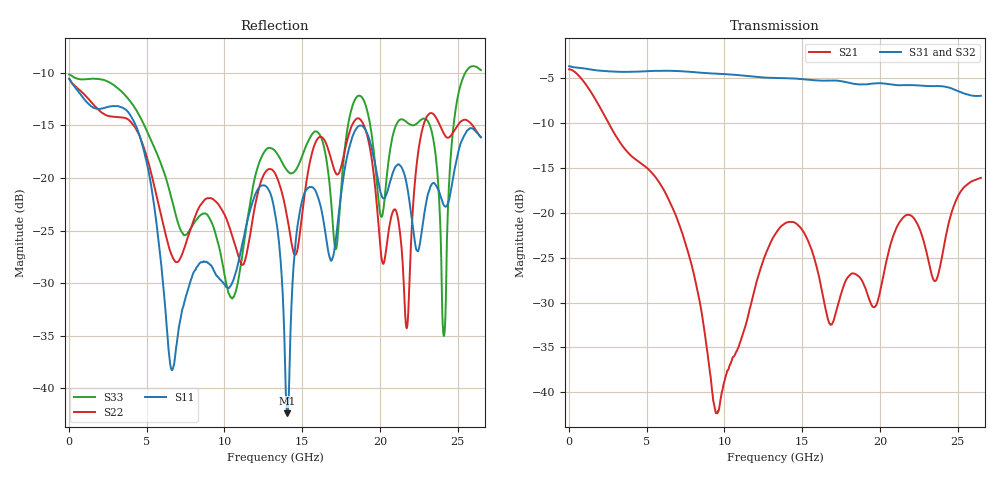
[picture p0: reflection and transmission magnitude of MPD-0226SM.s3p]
! MARKI MICROWAVE INC.
! Email:  info@markimicrowave.com  Phone:  408-778-4200
! Model Number:  MPD-0226SM  Date:  05/20
! Filename:		MPD-0226SM.S3P  Version: 1.0
! Description:  3-port S-parameter data for Power Divider MPD-0226SM
! Frequency Range: 	2 GHz to 26.5 GHz
! Port Configuration:	PORT 1:Output , PORT 2: Output, Port 3: COMMON
! S3P File: Measurements: Mag<S11> Ang<S11> Mag<S12> Ang<S12> Mag<S13> Ang<S13>! row 1
!  Mag<S21> Ang<S21> Mag<S22> Ang<S22> Mag<S23> Ang<S23>! row 2
!  Mag<S31> Ang<S31> Mag<S32> Ang<S32> Mag<S33> Ang<S33>! row 3
# Hz S  dB  R 50
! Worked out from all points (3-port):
!   801 points, 10 MHz to 26.5 GHz, reference 50 ohm
!   strongest paths, dB at 10 MHz, 6.633 GHz, 13.26 GHz, 19.88 GHz, 26.5 GHz:
!     S31: -3.6, -4.1, -4.9, -5.5, -6.9
!     S32: -3.6, -4.2, -5.0, -5.5, -6.9
!     S21: -4.0, -19.3, -22.4, -29.7, -16.1
!   lowest |S11| = -42.4 dB at 14.05 GHz (marker M1), VSWR 1.02, Z = 50.8 + j0.0161 ohm
!   |S11| at or under -10 dB: start of sweep to end of sweep
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1e7  -10.58 171.4  -4.04 -5.9  -3.63 -5.1
     -3.98 -6.4  -10.55 171.7  -3.61 -5.0
     -3.63 -5.4  -3.61 -5.2  -10.16 174.1
1.665625e9  -13.37 -69.8  -7.22 158.7  -4.06 -176.6
            -7.22 158.7  -13.17 -65.1  -4.11 -176.2
            -4.07 -176.6  -4.12 -176.2  -10.56 -1.6
3.387475e9  -13.29 95.8  -12.38 -19.1  -4.25 4.0
            -12.39 -19.1  -14.23 90.8  -4.18 3.9
            -4.26 4.0  -4.19 3.8  -11.78 159.4
5.109325e9  -19.27 -73.1  -15.12 170.0  -4.18 -176.0
            -15.12 170.0  -18.52 -87.8  -4.16 -176.6
            -4.18 -176.0  -4.16 -176.7  -15.84 -22.8
9.513288e9  -29.30 8.5  -41.96 -40.6  -4.47 79.6
            -42.32 -41.0  -22.34 0.4  -4.50 79.1
            -4.47 79.7  -4.49 79.1  -25.76 -6.7
1.110269e10  -26.62 -156.8  -34.03 119.9  -4.65 -87.7
             -33.96 119.7  -28.21 -134.0  -4.67 -88.3
             -4.66 -87.7  -4.67 -88.3  -27.84 168.3
1.3255e10  -23.35 -8.0  -22.38 -99.4  -4.95 46.5
           -22.40 -99.2  -19.54 -25.9  -4.97 45.4
           -4.95 46.5  -4.97 45.4  -17.41 -30.0
1.40497e10  -42.38 1.2  -21.06 161.5  -4.98 -37.1
            -21.04 161.5  -23.81 -93.3  -5.02 -38.3
            -4.98 -37.2  -5.02 -38.3  -19.31 -73.6
2.41159e10  -22.59 -45.4  -23.76 70.2  -5.90 -24.0
            -23.80 70.5  -15.77 -38.1  -6.01 -24.9
            -5.89 -24.1  -6.01 -24.9  -35.03 -49.1
2.65e10  -16.14 -167.8  -16.07 174.8  -6.94 88.2
         -16.08 174.9  -16.09 169.7  -6.94 86.6
         -6.93 88.1  -6.93 86.6  -9.73 -177.1
